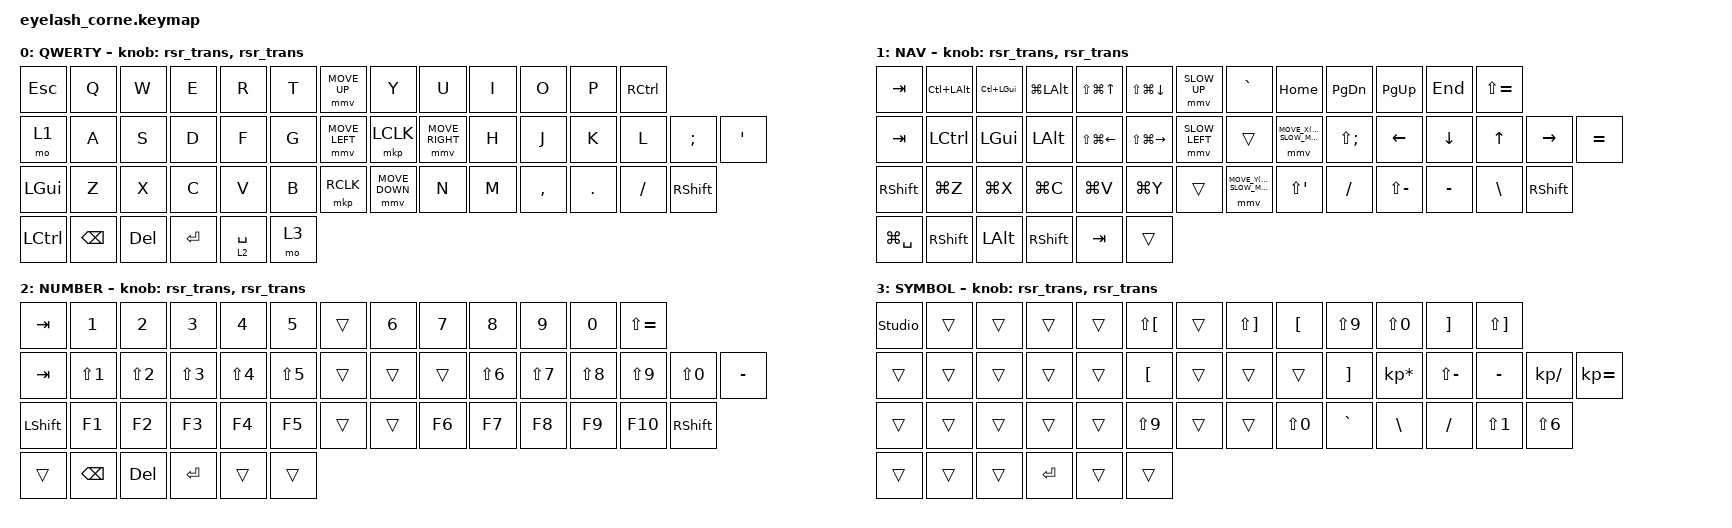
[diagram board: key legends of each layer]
#define ZMK_POINTING_DEFAULT_MOVE_VAL 1200  // QWERTY joystick; 2400 broke left/right
#define ZMK_POINTING_DEFAULT_SCRL_VAL 25   // 10
#define ZMK_POINTING_SLOW_MOVE_VAL 600  // NAV joystick, half of QWERTY
#define SLOW_UP    MOVE_Y(-ZMK_POINTING_SLOW_MOVE_VAL)
#define SLOW_DOWN  MOVE_Y(ZMK_POINTING_SLOW_MOVE_VAL)
#define SLOW_LEFT  MOVE_X(-ZMK_POINTING_SLOW_MOVE_VAL)
#define SLOW_RIGHT MOVE_X(ZMK_POINTING_SLOW_MOVE_VAL)

#include <input/processors.dtsi>
#include <zephyr/dt-bindings/input/input-event-codes.h>
#include <behaviors.dtsi>
#include <behaviors/runtime-sensor-rotate.dtsi>
#include <dt-bindings/zmk/bt.h>
#include <dt-bindings/zmk/keys.h>
#include <dt-bindings/zmk/outputs.h>
#include <dt-bindings/zmk/pointing.h>
#include <dt-bindings/zmk/rgb.h>

&soft_off { hold-time-ms = <2000>; };

/ {
    behaviors {
        td0: td0 {
            compatible = "zmk,behavior-tap-dance";
            display-name = "Shift/Caps Lock Tap Dance";
            #binding-cells = <0>;
            bindings = <&kp LEFT_SHIFT>, <&kp CAPS>;
        };

        // ponytail: kept but unbound -- left encoder is inert now;
        // put &rsr_scrl back in sensor-bindings to restore scrolling.
        rsr_scrl: rsr_scrl {
            compatible = "zmk,behavior-runtime-sensor-rotate";
            #sensor-binding-cells = <0>;
            tap-ms = <100>;
            cw-binding = <&msc SCRL_UP>;
            ccw-binding = <&msc SCRL_DOWN>;
        };

        rsr_trans: rsr_trans {
            compatible = "zmk,behavior-runtime-sensor-rotate";
            #sensor-binding-cells = <0>;
            tap-ms = <0>;
        };
    };

   combos {
        compatible = "zmk,combos";

        softoff {
            bindings = <&soft_off>;
            key-positions = <1 15 29>;
        };

        // Studio unlock also lives on layer 3, but layer 3 is only reachable
        // from &mo 3 at position 47 -- on the RIGHT half. With the split link
        // down the keyboard cannot be unlocked at all. These three are the
        // left edge (Esc, LGui, LCtrl), so the central alone can always do it.
        studio_unlock_combo {
            bindings = <&studio_unlock>;
            key-positions = <0 28 42>;
            timeout-ms = <80>;
        };
    };

    keymap {
        compatible = "zmk,keymap";

        default_layer {
            display-name = "QWERTY";
            bindings = <
  &kp ESC          &kp Q            &kp W            &kp E            &kp R            &kp T            &mmv MOVE_UP     &kp Y            &kp U            &kp I            &kp O            &kp P            &kp RCTRL
  &mo 1            &kp A            &kp S            &kp D            &kp F            &kp G            &mmv MOVE_LEFT   &mkp LCLK        &mmv MOVE_RIGHT  &kp H            &kp J            &kp K            &kp L            &kp SEMI         &kp SQT
  &kp LGUI         &kp Z            &kp X            &kp C            &kp V            &kp B            &mkp RCLK        &mmv MOVE_DOWN   &kp N            &kp M            &kp COMMA        &kp DOT          &kp FSLH         &kp RSHFT
  &kp LCTRL        &kp BSPC         &kp DEL          &kp RET          &lt 2 SPACE      &mo 3
            >;

            sensor-bindings = <&rsr_trans &rsr_trans>;
        };

        layer_1 {
            display-name = "NAV";
            bindings = <
  &kp TAB            &kp LC(LALT)       &kp LC(LGUI)       &kp LG(LALT)       &kp LS(LG(UP))     &kp LS(LG(DOWN))   &mmv SLOW_UP       &kp GRAVE          &kp HOME           &kp PG_DN          &kp PG_UP          &kp END            &kp LS(EQUAL)
  &kp TAB            &kp LCTRL          &kp LGUI           &kp LALT           &kp LS(LG(LEFT))   &kp LS(LG(RIGHT))  &mmv SLOW_LEFT     &trans             &mmv SLOW_RIGHT    &kp LS(SEMI)       &kp LEFT           &kp DOWN           &kp UP             &kp RIGHT          &kp EQUAL
  &kp RSHFT          &kp LG(Z)          &kp LG(X)          &kp LG(C)          &kp LG(V)          &kp LG(Y)          &trans             &mmv SLOW_DOWN     &kp LS(SQT)        &kp FSLH           &kp LS(MINUS)      &kp MINUS          &kp BSLH           &kp RSHFT
  &kp LG(SPACE)      &kp RSHFT          &kp LALT           &kp RSHFT          &kp TAB            &trans
            >;

            sensor-bindings = <&rsr_trans &rsr_trans>;
        };

        layer_2 {
            display-name = "NUMBER";
            bindings = <
  &kp TAB        &kp N1         &kp N2         &kp N3         &kp N4         &kp N5         &trans         &kp N6         &kp N7         &kp N8         &kp N9         &kp N0         &kp LS(EQUAL)
  &kp TAB        &kp LS(N1)     &kp LS(N2)     &kp LS(N3)     &kp LS(N4)     &kp LS(N5)     &trans         &trans         &trans         &kp LS(N6)     &kp LS(N7)     &kp LS(N8)     &kp LS(N9)     &kp LS(N0)     &kp MINUS
  &kp LSHFT      &kp F1         &kp F2         &kp F3         &kp F4         &kp F5         &trans         &trans         &kp F6         &kp F7         &kp F8         &kp F9         &kp F10        &kp RSHFT
  &trans         &kp BSPC       &kp DEL        &kp RET        &trans         &trans
            >;

            sensor-bindings = <&rsr_trans &rsr_trans>;
        };

        layer_3 {
            display-name = "SYMBOL";
            bindings = <
  &studio_unlock   &trans           &trans           &trans           &trans           &kp LS(LBKT)     &trans           &kp LS(RBKT)     &kp LBKT         &kp LS(N9)       &kp LS(N0)       &kp RBKT         &kp LS(RBKT)
  &trans           &trans           &trans           &trans           &trans           &kp LBKT         &trans           &trans           &trans           &kp RBKT         &kp KP_MULTIPLY  &kp LS(MINUS)    &kp MINUS        &kp KP_DIVIDE    &kp KP_EQUAL
  &trans           &trans           &trans           &trans           &trans           &kp LS(N9)       &trans           &trans           &kp LS(N0)       &kp GRAVE        &kp BSLH         &kp FSLH         &kp LS(N1)       &kp LS(N6)
  &trans           &trans           &trans           &kp RET          &trans           &trans
            >;

            sensor-bindings = <&rsr_trans &rsr_trans>;
        };
    };
};
